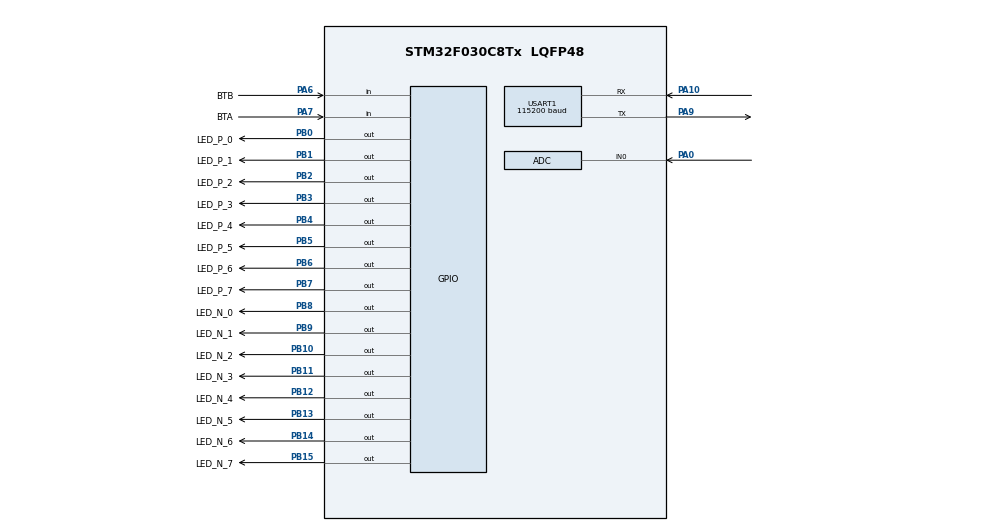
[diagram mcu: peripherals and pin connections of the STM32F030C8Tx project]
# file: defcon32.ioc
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ADC.ContinuousConvMode=ENABLE
Mcu.Family=STM32F0
Mcu.Name=STM32F030C8Tx
Mcu.Package=LQFP48
NVIC.TIM16_IRQn=true\:0\:0\:false\:false\:true\:true\:true\:true
PA0.Mode=IN0
PA0.Signal=ADC_IN0
PA10.Mode=Asynchronous
PA10.Signal=USART1_RX
PA13.Mode=Serial_Wire
PA13.Signal=SYS_SWDIO
PA14.Mode=Serial_Wire
PA14.Signal=SYS_SWCLK
PA6.GPIO_Label=BTB
PA6.GPIO_PuPd=GPIO_PULLUP
PA6.Signal=GPIO_Input
PA7.GPIO_Label=BTA
PA7.GPIO_PuPd=GPIO_PULLUP
PA7.Signal=GPIO_Input
PA9.Mode=Asynchronous
PA9.Signal=USART1_TX
PB0.GPIO_Label=LED_P_0
PB0.GPIO_Speed=GPIO_SPEED_FREQ_HIGH
PB0.Signal=GPIO_Output
PB1.GPIO_Label=LED_P_1
PB1.GPIO_Speed=GPIO_SPEED_FREQ_HIGH
PB1.Signal=GPIO_Output
PB10.GPIO_Label=LED_N_2
PB10.GPIO_ModeDefaultOutputPP=GPIO_MODE_OUTPUT_OD
PB10.GPIO_Speed=GPIO_SPEED_FREQ_HIGH
PB10.Signal=GPIO_Output
PB11.GPIO_Label=LED_N_3
PB11.GPIO_ModeDefaultOutputPP=GPIO_MODE_OUTPUT_OD
PB11.GPIO_Speed=GPIO_SPEED_FREQ_HIGH
PB11.Signal=GPIO_Output
PB12.GPIO_Label=LED_N_4
PB12.GPIO_ModeDefaultOutputPP=GPIO_MODE_OUTPUT_OD
PB12.GPIO_Speed=GPIO_SPEED_FREQ_HIGH
PB12.Signal=GPIO_Output
PB13.GPIO_Label=LED_N_5
PB13.GPIO_ModeDefaultOutputPP=GPIO_MODE_OUTPUT_OD
PB13.GPIO_Speed=GPIO_SPEED_FREQ_HIGH
PB13.Signal=GPIO_Output
PB14.GPIO_Label=LED_N_6
PB14.GPIO_ModeDefaultOutputPP=GPIO_MODE_OUTPUT_OD
PB14.GPIO_Speed=GPIO_SPEED_FREQ_HIGH
PB14.Signal=GPIO_Output
PB15.GPIO_Label=LED_N_7
PB15.GPIO_ModeDefaultOutputPP=GPIO_MODE_OUTPUT_OD
PB15.GPIO_Speed=GPIO_SPEED_FREQ_HIGH
PB15.Signal=GPIO_Output
PB2.GPIO_Label=LED_P_2
PB2.GPIO_Speed=GPIO_SPEED_FREQ_HIGH
PB2.Signal=GPIO_Output
PB3.GPIO_Label=LED_P_3
PB3.GPIO_Speed=GPIO_SPEED_FREQ_HIGH
PB3.Signal=GPIO_Output
PB4.GPIO_Label=LED_P_4
PB4.GPIO_Speed=GPIO_SPEED_FREQ_HIGH
PB4.Signal=GPIO_Output
PB5.GPIO_Label=LED_P_5
PB5.GPIO_Speed=GPIO_SPEED_FREQ_HIGH
PB5.Signal=GPIO_Output
PB6.GPIO_Label=LED_P_6
PB6.GPIO_Speed=GPIO_SPEED_FREQ_HIGH
PB6.Signal=GPIO_Output
PB7.GPIO_Label=LED_P_7
PB7.GPIO_Speed=GPIO_SPEED_FREQ_HIGH
PB7.Signal=GPIO_Output
PB8.GPIO_Label=LED_N_0
PB8.GPIO_ModeDefaultOutputPP=GPIO_MODE_OUTPUT_OD
PB8.GPIO_Speed=GPIO_SPEED_FREQ_HIGH
PB8.Signal=GPIO_Output
PB9.GPIO_Label=LED_N_1
PB9.GPIO_ModeDefaultOutputPP=GPIO_MODE_OUTPUT_OD
PB9.GPIO_Speed=GPIO_SPEED_FREQ_HIGH
PB9.Signal=GPIO_Output
ProjectManager.HeapSize=0x200
ProjectManager.StackSize=0x400
ProjectManager.TargetToolchain=STM32CubeIDE
TIM16.AutoReloadPreload=TIM_AUTORELOAD_PRELOAD_DISABLE
TIM16.ClockDivision=TIM_CLOCKDIVISION_DIV1
TIM16.CounterMode=TIM_COUNTERMODE_UP
TIM16.Period=1000
TIM16.Prescaler=0
TIM16.RepetitionCounter=0
USART1.AutoBaudRateEnableParam=UART_ADVFEATURE_AUTOBAUDRATE_DISABLE
USART1.BaudRate=115200
USART1.DMADisableonRxErrorParam=ADVFEATURE_DMA_ENABLEONRXERROR
USART1.DataInvertParam=ADVFEATURE_DATAINV_DISABLE
USART1.MSBFirstParam=ADVFEATURE_MSBFIRST_DISABLE
USART1.Mode=MODE_TX_RX
USART1.OneBitSampling=UART_ONE_BIT_SAMPLE_DISABLE
USART1.OverSampling=UART_OVERSAMPLING_16
USART1.OverrunDisableParam=ADVFEATURE_OVERRUN_ENABLE
USART1.Parity=PARITY_NONE
USART1.RxPinLevelInvertParam=ADVFEATURE_RXINV_DISABLE
USART1.StopBits=STOPBITS_1
USART1.SwapParam=ADVFEATURE_SWAP_DISABLE
USART1.TxPinLevelInvertParam=ADVFEATURE_TXINV_DISABLE
USART1.VirtualMode-Asynchronous=VM_ASYNC
USART1.WordLength=WORDLENGTH_8B
VP_TIM16_VS_ClockSourceINT.Mode=Enable_Timer
board=custom

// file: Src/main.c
/* USER CODE BEGIN Header */
/**
  ******************************************************************************
  * @file           : main.c
  * @brief          : Main program body
  ******************************************************************************
  * @attention
  *
  * Copyright (c) 2022 STMicroelectronics.
  * All rights reserved.
  *
  * This software is licensed under terms that can be found in the LICENSE file
  * in the root directory of this software component.
  * If no LICENSE file comes with this software, it is provided AS-IS.
  *
  ******************************************************************************
  */
/* USER CODE END Header */
#include "main.h"
#include "adc.h"
#include "tim.h"
#include "usart.h"
#include "gpio.h"

/* USER CODE BEGIN Includes */

#include "screenBuffer.h"
#include "ascii_letter.h"
#include "anim_random.h"
#include "anim_swipe.h"
#include "anim_name.h"
#include "anim_ball.h"
#include "anim_life.h"
#include "game_racer.h"

/* USER CODE END Includes */

/* USER CODE BEGIN PD */

#define MAX_ANIM_ID 10
#define DELAY_PER_LETTER 500
uint8_t currentAnimation = 1;

/* USER CODE END PD */

void SystemClock_Config(void);

/* USER CODE BEGIN 0 */

void animationSelector()
{
	static uint32_t schedulerTimestamp_updateName = 0;
	if( HAL_GPIO_ReadPin(BTB_GPIO_Port, BTB_Pin) == GPIO_PIN_RESET )
	{
		currentAnimation++;
		if(currentAnimation == MAX_ANIM_ID)
			currentAnimation = 0;

		//HAL_Delay(100);
		while(HAL_GPIO_ReadPin(BTB_GPIO_Port, BTB_Pin) == GPIO_PIN_RESET)
		{
			screen_show_letter((currentAnimation < 10)?(ASCII_ZERO + currentAnimation):(ASCII_UPPER_A + currentAnimation - 10));
			HAL_Delay(100);
		}
	}
	else if( HAL_GPIO_ReadPin(BTA_GPIO_Port, BTA_Pin) == GPIO_PIN_RESET )
	{
    if(currentAnimation == 0)
      currentAnimation = MAX_ANIM_ID-1;
    else
      currentAnimation--;

		//HAL_Delay(100);
		while(HAL_GPIO_ReadPin(BTA_GPIO_Port, BTA_Pin) == GPIO_PIN_RESET)
		{
			screen_show_letter((currentAnimation < 10)?(ASCII_ZERO + currentAnimation):(ASCII_UPPER_A + currentAnimation - 10));
			HAL_Delay(100);
		}
	}

	switch(currentAnimation)
	{
		 case 0:
			 anim_random_run();
			 break;
		 case 1:
			 if(HAL_GetTick() - schedulerTimestamp_updateName > DELAY_PER_LETTER)
			 {
				 schedulerTimestamp_updateName = HAL_GetTick();
				 anim_name_word("DEFCON32! ");
			 }
			 break;
		 case 2:
			 anim_horizontal_run();
			 break;
		 case 3:
			 anim_vertical_run();
			 break;
		 case 4:
			 anim_diagonal_run();
			 break;
		 case 5:
			 anim_rotate_run();
			 break;
		 case 6:
			 if(HAL_GetTick() - schedulerTimestamp_updateName > DELAY_PER_LETTER)
			 {
				 schedulerTimestamp_updateName = HAL_GetTick();
				 anim_name_word("RAWR! ^.^ ");
			 }
			 break;
		 case 7:
			 anim_swipeAll_run();
			 break;
		 case 8:
			 anim_ball_run();
			 break;
		 case 9:
			 anim_life_run();
			 break;
		 default:
			 screen_fill(); HAL_Delay(10);
			 screen_clear(); HAL_Delay(10);
			 break;
	}
}

/* USER CODE END 0 */

int main(void)
{

  /* MCU Configuration--------------------------------------------------------*/

  /* Reset of all peripherals, Initializes the Flash interface and the Systick. */
  HAL_Init();

  /* Configure the system clock */
  SystemClock_Config();

  /* Initialize all configured peripherals */
  MX_GPIO_Init();
  MX_USART1_UART_Init();
  MX_TIM16_Init();
  MX_ADC_Init();
  /* USER CODE BEGIN 2 */

  //Generate seed from floating ADC pin
  HAL_ADC_Start(&hadc);
  uint32_t seed = 0;
  uint32_t currentVal = 0;
  for(int i=0; i<10; i++)
  {
	  HAL_ADC_PollForConversion(&hadc, 0xFF);
	  currentVal = HAL_ADC_GetValue(&hadc);
	  seed = seed + currentVal;
	  HAL_Delay(2);
  }
  srand(seed);	//input seed into sRand

  //start timer for screen refresh
  HAL_TIM_Base_Start_IT(&htim16);

  // Initiate matrix for conway
  anim_life_setup();

  /* USER CODE END 2 */

  /* Infinite loop */
  /* USER CODE BEGIN WHILE */
  uint8_t gameSelector = 0;
  if( HAL_GPIO_ReadPin(BTB_GPIO_Port, BTB_Pin) == GPIO_PIN_RESET || HAL_GPIO_ReadPin(BTA_GPIO_Port, BTA_Pin) == GPIO_PIN_RESET ) //IF button is held during boot, enter different game mode
  {
	  gameSelector = 1;
  }
    /* USER CODE END WHILE */
    /* USER CODE BEGIN 3 */
  if(gameSelector == 1)
  {
	while(1)
		gameRacer_run();
  }
  else
  {
	while (1)
		animationSelector();
  }
  /* USER CODE END 3 */
}

void SystemClock_Config(void)
{
  RCC_OscInitTypeDef RCC_OscInitStruct = {0};
  RCC_ClkInitTypeDef RCC_ClkInitStruct = {0};
  RCC_PeriphCLKInitTypeDef PeriphClkInit = {0};

  /** Initializes the RCC Oscillators according to the specified parameters
  * in the RCC_OscInitTypeDef structure.
  */
  RCC_OscInitStruct.OscillatorType = RCC_OSCILLATORTYPE_HSI|RCC_OSCILLATORTYPE_HSI14;
  RCC_OscInitStruct.HSIState = RCC_HSI_ON;
  RCC_OscInitStruct.HSI14State = RCC_HSI14_ON;
  RCC_OscInitStruct.HSICalibrationValue = RCC_HSICALIBRATION_DEFAULT;
  RCC_OscInitStruct.HSI14CalibrationValue = 16;
  RCC_OscInitStruct.PLL.PLLState = RCC_PLL_NONE;
  if (HAL_RCC_OscConfig(&RCC_OscInitStruct) != HAL_OK)
  {
    Error_Handler();
  }

  /** Initializes the CPU, AHB and APB buses clocks
  */
  RCC_ClkInitStruct.ClockType = RCC_CLOCKTYPE_HCLK|RCC_CLOCKTYPE_SYSCLK
                              |RCC_CLOCKTYPE_PCLK1;
  RCC_ClkInitStruct.SYSCLKSource = RCC_SYSCLKSOURCE_HSI;
  RCC_ClkInitStruct.AHBCLKDivider = RCC_SYSCLK_DIV1;
  RCC_ClkInitStruct.APB1CLKDivider = RCC_HCLK_DIV1;

  if (HAL_RCC_ClockConfig(&RCC_ClkInitStruct, FLASH_LATENCY_0) != HAL_OK)
  {
    Error_Handler();
  }
  PeriphClkInit.PeriphClockSelection = RCC_PERIPHCLK_USART1;
  PeriphClkInit.Usart1ClockSelection = RCC_USART1CLKSOURCE_PCLK1;
  if (HAL_RCCEx_PeriphCLKConfig(&PeriphClkInit) != HAL_OK)
  {
    Error_Handler();
  }
}

void Error_Handler(void)
{
  __disable_irq();
  while (1)
  {
  }
}
